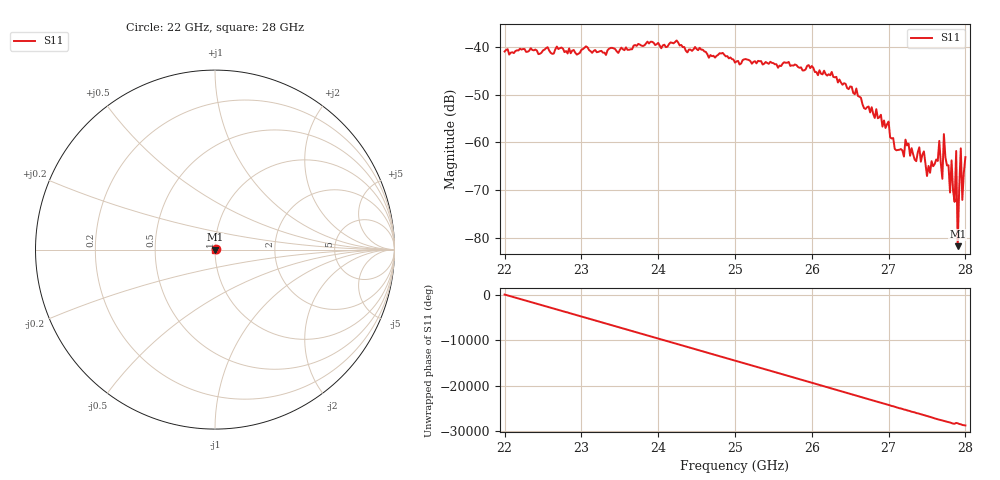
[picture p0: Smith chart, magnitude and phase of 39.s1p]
#  HZ  S  RI  R  50.00
! Rohde & Schwarz ZVA40 4Ports - Version 3.90 - 1145.1110k42 SN: 100403
! Date: 2023-10-04 07:32:36
! Measurement: S12
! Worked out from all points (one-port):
!   301 points, 22 GHz to 28 GHz, reference 50 ohm
!   lowest |S11| = -81.8 dB at 27.9 GHz (marker M1), VSWR 1.00, Z = 50 + j0.00381 ohm
!   |S11| at or under -10 dB: start of sweep to end of sweep
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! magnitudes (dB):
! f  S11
! 22 GHz  -41.0
! 22.76 GHz  -40.4
! 23.5 GHz  -40.7
! 24.26 GHz  -39.1
! 25 GHz  -43.3
! 25.76 GHz  -43.9
! 26.5 GHz  -48.3
! 27 GHz  -55.7
! 27.08 GHz  -61.4
! 27.2 GHz  -63.0
! 27.26 GHz  -60.3
! 27.36 GHz  -64.0
! 27.46 GHz  -61.9
! 27.5 GHz  -67.1
! 27.64 GHz  -63.9
! 27.66 GHz  -59.7
! 27.7 GHz  -67.7
! 27.72 GHz  -58.3
! 27.74 GHz  -63.2
! 27.78 GHz  -64.8
! 27.8 GHz  -70.5
! 27.82 GHz  -63.8
! 27.86 GHz  -72.5
! 27.88 GHz  -61.8
! 27.9 GHz  -81.8
! 27.94 GHz  -61.3
! 27.96 GHz  -72.1
! 28 GHz  -63.1
